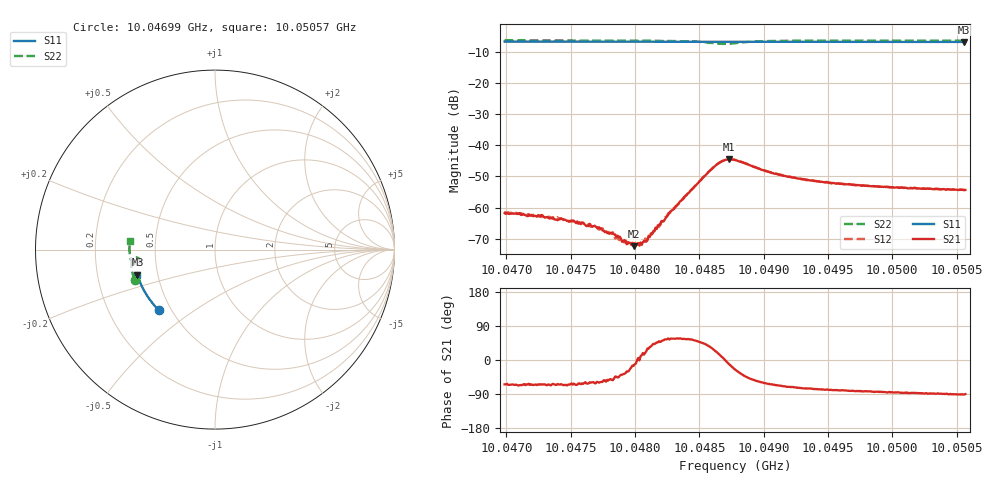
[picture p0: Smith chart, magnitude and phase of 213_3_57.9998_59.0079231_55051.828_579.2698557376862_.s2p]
#  HZ  S  RI  R  50.00
! Rohde & Schwarz Vector Network Analyzer
! Rohde-Schwarz,ZNB20-2Port,1311601062101988,3.16
! Created: UTC 3/21/2024, 12:59:50 AM
! freq[Hz]  re:S11  im:S11  re:S21  im:S21  re:S12  im:S12  re:S22  im:S22
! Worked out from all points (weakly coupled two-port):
!   401 points, 10.04699 GHz to 10.05057 GHz, reference 50 ohm
!   highest |S21| = -44.53 dB at 10.04873 GHz (marker M1); lowest = -72.4 dB at 10.04799 GHz (marker M2)
!   lowest |S11| = -6.9 dB at 10.05056 GHz (marker M3), VSWR 2.66, Z = 19.2 - j6.74 ohm
!   |S11| at or under -10 dB: nowhere
!   |S22| runs from -7.5 to -6.4 dB; largest |S21 - S12| = 0.00041
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1.0046986e10  -0.3117 -0.339  0.000356 -0.000738  0.000385 -0.00075  -0.4485 -0.17
1.0047264e10  -0.3246 -0.3257  0.000319 -0.000647  0.000369 -0.000658  -0.4542 -0.1518
1.0047586e10  -0.3389 -0.31  0.000265 -0.000493  0.000295 -0.000502  -0.4598 -0.1296
1.0047703e10  -0.3439 -0.3041  0.000259 -0.000409  0.000273 -0.000391  -0.4618 -0.1214
1.0047783e10  -0.3472 -0.3  0.000238 -0.000309  0.000257 -0.000318  -0.4629 -0.1156
1.0047819e10  -0.3487 -0.2981  0.00024 -0.000313  0.000262 -0.000276  -0.4634 -0.1129
1.0047864e10  -0.3506 -0.2958  0.000246 -0.000256  0.000244 -0.000216  -0.4639 -0.1094
1.00479e10  -0.352 -0.2938  0.000221 -0.000177  0.000243 -0.000182  -0.4644 -0.1067
1.0047989e10  -0.3557 -0.2891  0.000232 -6.25e-05  0.000257 -6.23e-05  -0.4652 -0.0996
1.0048052e10  -0.358 -0.286  0.000247 5.34e-05  0.000253 6.22e-05  -0.4656 -0.0946
1.004807e10  -0.3589 -0.2849  0.000281 7.17e-05  0.000255 9.21e-05  -0.4657 -0.0931
1.0048186e10  -0.3634 -0.2787  0.000345 0.000404  0.000305 0.000382  -0.4658 -0.0828
1.0048249e10  -0.3658 -0.2753  0.000418 0.00059  0.00039 0.000622  -0.4653 -0.077
1.0048589e10  -0.3781 -0.2565  0.00338 0.00221  0.00326 0.00242  -0.4372 -0.0438
1.0048661e10  -0.3805 -0.2525  0.00518 0.00119  0.00511 0.00153  -0.4217 -0.0514
1.0048733e10  -0.3829 -0.2489  0.00582 -0.00117  0.00592 -0.000805  -0.4195 -0.0704
1.0048777e10  -0.3844 -0.2464  0.00524 -0.00245  0.00544 -0.00212  -0.4271 -0.0793
1.0049073e10  -0.3945 -0.2297  0.00149 -0.00326  0.00171 -0.00318  -0.4662 -0.0623
1.0049377e10  -0.4038 -0.212  0.000643 -0.00262  0.000794 -0.00263  -0.4739 -0.0352
1.0049977e10  -0.4198 -0.1758  0.000209 -0.00209  0.000293 -0.00213  -0.4764 0.00979
1.005056e10  -0.4322 -0.1396  -3.45e-05 -0.00191  5.22e-05 -0.00192  -0.4737 0.0499
1.0050569e10  -0.4325 -0.1388  1.35e-06 -0.00191  7.45e-05 -0.00193  -0.4737 0.0503
